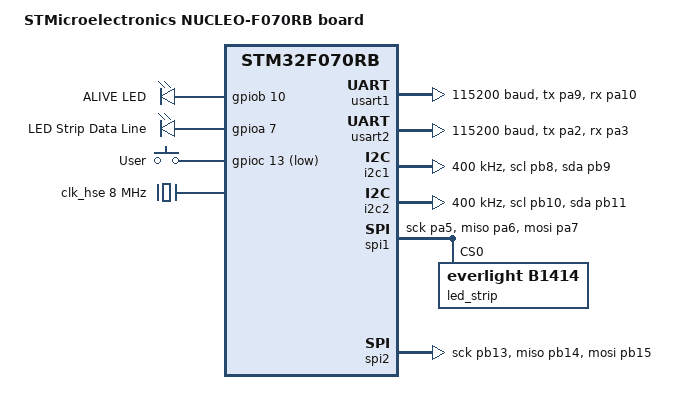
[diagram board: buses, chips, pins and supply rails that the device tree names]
/*
 * Copyright (c) 2023 Electronya
 *
 */

/dts-v1/;
#include <st/f0/stm32f070Xb.dtsi>
#include <st/f0/stm32f070rbtx-pinctrl.dtsi>
#include <zephyr/dt-bindings/led/led.h>
#include "./ws2812b-bindings.h"

/ {
	model = "STMicroelectronics NUCLEO-F070RB board";
	compatible = "st,stm32f070rb-nucleo";

	chosen {
		zephyr,console = &usart1;
		zephyr,shell-uart = &usart1;
		zephyr,sram = &sram0;
		zephyr,flash = &flash0;
	};

	leds {
		compatible = "gpio-leds";
		ledalive: aliveled {
			gpios = <&gpiob 10 GPIO_ACTIVE_HIGH>;
			label = "ALIVE LED";
		};
    /* the following are mearely outputs */
    stripdataline: dataline {
      gpios = <&gpioa 7 GPIO_ACTIVE_HIGH>;
			label = "LED Strip Data Line";
    };
	};

	gpio_keys {
		compatible = "gpio-keys";
		user_button: button {
			label = "User";
			gpios = <&gpioc 13 GPIO_ACTIVE_LOW>;
		};
	};

	aliases {
    /* watchdog */
		watchdog0 = &iwdg;
    /* alive LED */
    alive = &ledalive;
    /* LED strip devices */
    led-strip = &led_strip;
	};
};

&clk_hse {
	hse-bypass;
	clock-frequency = <DT_FREQ_M(8)>; /* STLink 8MHz clock */
	status = "okay";
};

&pll {
	clocks = <&clk_hse>;
	prediv = <1>;
	mul = <6>;
	status = "okay";
};

&rcc {
	clocks = <&pll>;
	clock-frequency = <DT_FREQ_M(48)>;
	ahb-prescaler = <1>;
	apb1-prescaler = <2>;
};

&usart1 {
	pinctrl-0 = <&usart1_tx_pa9 &usart1_rx_pa10>;
	pinctrl-names = "default";
	current-speed = <115200>;
	status = "okay";
};

&usart2 {
	pinctrl-0 = <&usart2_tx_pa2 &usart2_rx_pa3>;
	pinctrl-names = "default";
	current-speed = <115200>;
	status = "okay";
};

&i2c1 {
	pinctrl-0 = <&i2c1_scl_pb8 &i2c1_sda_pb9>;
	pinctrl-names = "default";
	// status = "okay";
	clock-frequency = <I2C_BITRATE_FAST>;
};

&i2c2 {
	pinctrl-0 = <&i2c2_scl_pb10 &i2c2_sda_pb11>;
	pinctrl-names = "default";
	// status = "okay";
	clock-frequency = <I2C_BITRATE_FAST>;
};

&spi1 {
	pinctrl-0 = <&spi1_sck_pa5 &spi1_miso_pa6 &spi1_mosi_pa7>;
	pinctrl-names = "default";
  status = "okay";

  dmas = <&dma1 3 (STM32_DMA_PERIPH_TX | STM32_DMA_PRIORITY_HIGH)>,
		     <&dma1 2 (STM32_DMA_PERIPH_RX | STM32_DMA_PRIORITY_HIGH)>;
	dma-names = "tx", "rx";

  led_strip: led_strip@0 {
    compatible = "everlight,b1414", "worldsemi,ws2812-spi";

		/* SPI */
		reg = <0>; /* ignored, but necessary for SPI bindings */
		spi-max-frequency = <SPI_FREQ>;
		frame-format = <32768>; /* SPI_FRAME_FORMAT_TI */

		/* LED strip */
		chain-length = <18>; /* arbitrary; change at will */
		spi-one-frame = <ONE_FRAME>;
		spi-zero-frame = <ZERO_FRAME>;
		color-mapping = <LED_COLOR_ID_GREEN
				             LED_COLOR_ID_RED
                     LED_COLOR_ID_BLUE>;

		reset-delay = <250>;
		status = "okay";
	};
};

&spi2 {
	pinctrl-0 = <&spi2_sck_pb13 &spi2_miso_pb14 &spi2_mosi_pb15>;
	pinctrl-names = "default";
	// status = "okay";
};

&iwdg {
	// status = "okay";
};

&dma1 {
	status = "okay";
};
